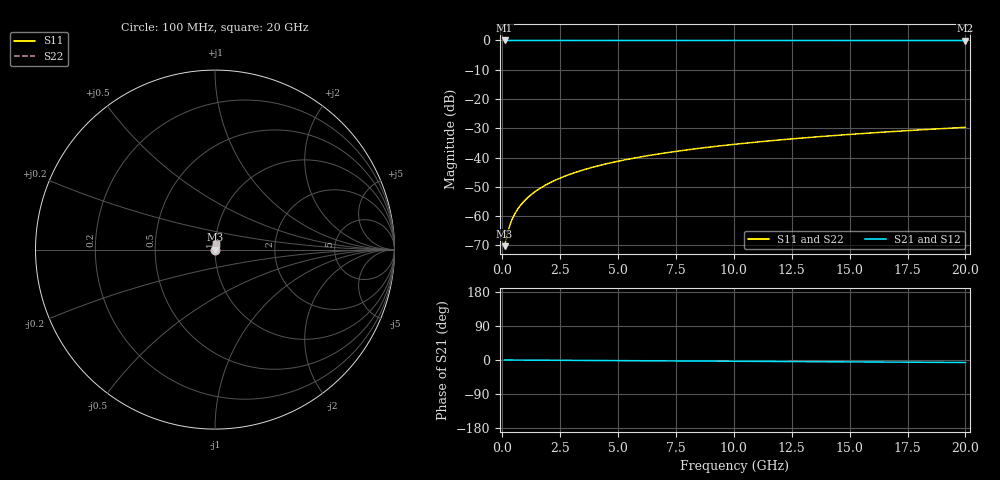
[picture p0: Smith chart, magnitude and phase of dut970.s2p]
! Touchstone file exported from HFSS 2026.1.0
!  File:  C:/ffzhzh/LocalFiles/Ansys_Project_Files/temp_train_TSV_970_1783187776_18472.aedt
!  Generated:  01:57:55 AM Jul  5, 2026
!  Design:  TSV
!  Project:  temp_train_TSV_970_1783187776_18472
! Variables:
!  h_bsmrdl = 2um
!  h_ox = 20um
!  h_rdl = 5um
!  h_sub = 61.26um
!  h_tmrdl = 5um
!  h_tsv = 61.26um
!  h_via = 3um
!  l_bsmrdl = 300um
!  l_sub = 412.06um
!  l_tmrdl = 200um
!  m_sub = 200um
!  pitch = 35.51um
!  r_tsv = 6.03um
!  s_tmrdl = 10um
!  w_bsmrdl = 18um
!  w_sub = 500um
!  w_tmrdl = 12um
!  x_tsv_center1 = 206um
!  x_tsv_center2 = 524um
!  x_tsv_center3 = 736um
!  x_tsv_center4 = 1054um
!  x_tsv_center5 = 1266um
!  x_tsv_center6 = 1584um
# GHz S MA R 50.000000
! Terminal data exported
! Port[1] = TSV1_1_T1
! Port[2] = TSV1_1_T2
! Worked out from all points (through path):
!   200 points, 100 MHz to 20 GHz, reference 50 ohm
!   highest |S21| = 0.00 dB at 100 MHz (marker M1); lowest = 0.0 dB at 20 GHz (marker M2)
!   lowest |S11| = -70.3 dB at 100 MHz (marker M3), VSWR 1.00, Z = 50 + j0.0202 ohm
!   |S11| at or under -10 dB: start of sweep to end of sweep
!   |S22| runs from -70.3 to -29.7 dB; largest |S21 - S12| = 3.4e-15
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0.1  0.000306 41.4  0.9998 -0.0  0.9998 -0.0  0.000306 41.4
! Gamma 0 0 0 0
! Port Impedance 50 0 50 0
0.2  0.0004682 59.1  0.9998 -0.1  0.9998 -0.1  0.0004682 59.1
0.3  0.0006497 66.8  0.9997 -0.1  0.9997 -0.1  0.0006497 66.8
0.4  0.0008339 70.8  0.9997 -0.1  0.9997 -0.1  0.0008339 70.8
0.5  0.001017 73.2  0.9997 -0.2  0.9997 -0.2  0.001017 73.2
0.6  0.001196 74.8  0.9997 -0.2  0.9997 -0.2  0.001196 74.8
0.7  0.001374 76.0  0.9997 -0.2  0.9997 -0.2  0.001374 76.0
0.8  0.001549 77.0  0.9997 -0.3  0.9997 -0.3  0.001549 77.0
1  0.001896 78.4  0.9996 -0.3  0.9996 -0.3  0.001896 78.4
1.4  0.002583 80.2  0.9996 -0.5  0.9996 -0.5  0.002583 80.2
1.7  0.003097 81.1  0.9995 -0.6  0.9995 -0.6  0.003097 81.1
2  0.003609 81.8  0.9995 -0.7  0.9995 -0.7  0.003609 81.8
2.7  0.0048 82.6  0.9994 -0.9  0.9994 -0.9  0.0048 82.6
3.5  0.006149 83.1  0.9994 -1.2  0.9994 -1.2  0.006149 83.1
4.2  0.007319 83.3  0.9993 -1.4  0.9993 -1.4  0.007319 83.3
5  0.008644 83.4  0.9992 -1.7  0.9992 -1.7  0.008644 83.4
6.8  0.01159 83.4  0.9991 -2.3  0.9991 -2.3  0.01159 83.4
8.3  0.01403 83.3  0.9989 -2.7  0.9989 -2.7  0.01403 83.3
10.1  0.01695 83.1  0.9988 -3.3  0.9988 -3.3  0.01695 83.1
13.4  0.02227 82.5  0.9985 -4.4  0.9985 -4.4  0.02227 82.5
16.7  0.02755 81.7  0.9983 -5.5  0.9983 -5.5  0.02755 81.7
20  0.0328 80.8  0.998 -6.6  0.998 -6.6  0.0328 80.8
